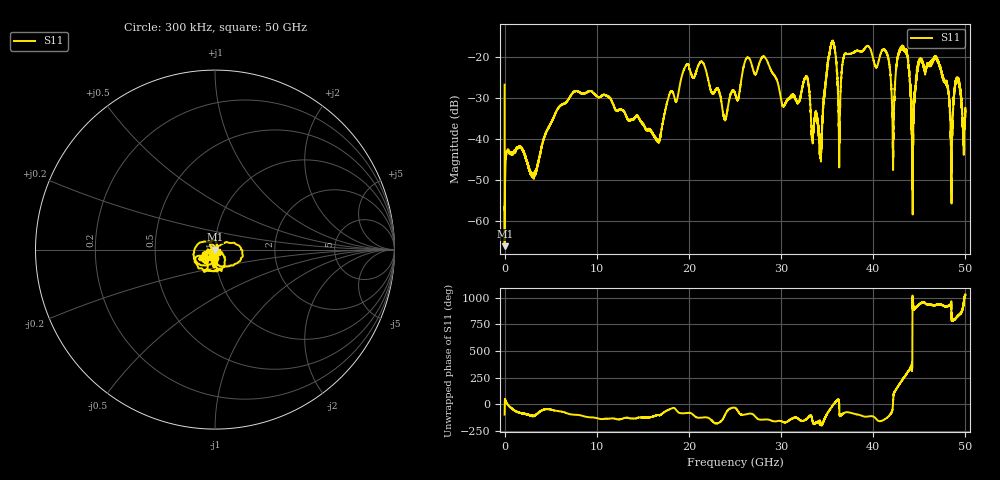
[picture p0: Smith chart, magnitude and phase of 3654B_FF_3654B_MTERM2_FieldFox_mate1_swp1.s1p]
!Created with skrf (http://scikit-rf.org).
# Hz S RI R 50.0
!freq ReS11 ImS11
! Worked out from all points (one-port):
!   10001 points, 300 kHz to 50 GHz, reference 50 ohm
!   lowest |S11| = -66.1 dB at 5.3 MHz (marker M1), VSWR 1.00, Z = 50 - j0.0432 ohm
!   |S11| at or under -10 dB: start of sweep to end of sweep
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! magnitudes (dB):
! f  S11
! 300 kHz  -26.7
! 5.3 MHz  -66.1
! 255.3 MHz  -43.0
! 3.11 GHz  -48.5
! 6.25 GHz  -31.5
! 12.5 GHz  -32.8
! 16.64 GHz  -40.5
! 18.75 GHz  -30.0
! 21.35 GHz  -21.1
! 23.88 GHz  -35.0
! 25 GHz  -28.9
! 28.11 GHz  -19.8
! 31.25 GHz  -29.0
! 32.77 GHz  -24.6
! 34.25 GHz  -41.8
! 35.44 GHz  -16.6
! 36.31 GHz  -46.9
! 37.5 GHz  -19.2
! 41.31 GHz  -18.4
! 42.15 GHz  -45.7
! 42.83 GHz  -18.3
! 43.75 GHz  -19.9
! 44.27 GHz  -40.5
! 44.98 GHz  -21.0
! 46.74 GHz  -20.2
! 48.43 GHz  -39.6
! 49.12 GHz  -25.6
! 50 GHz  -33.3
